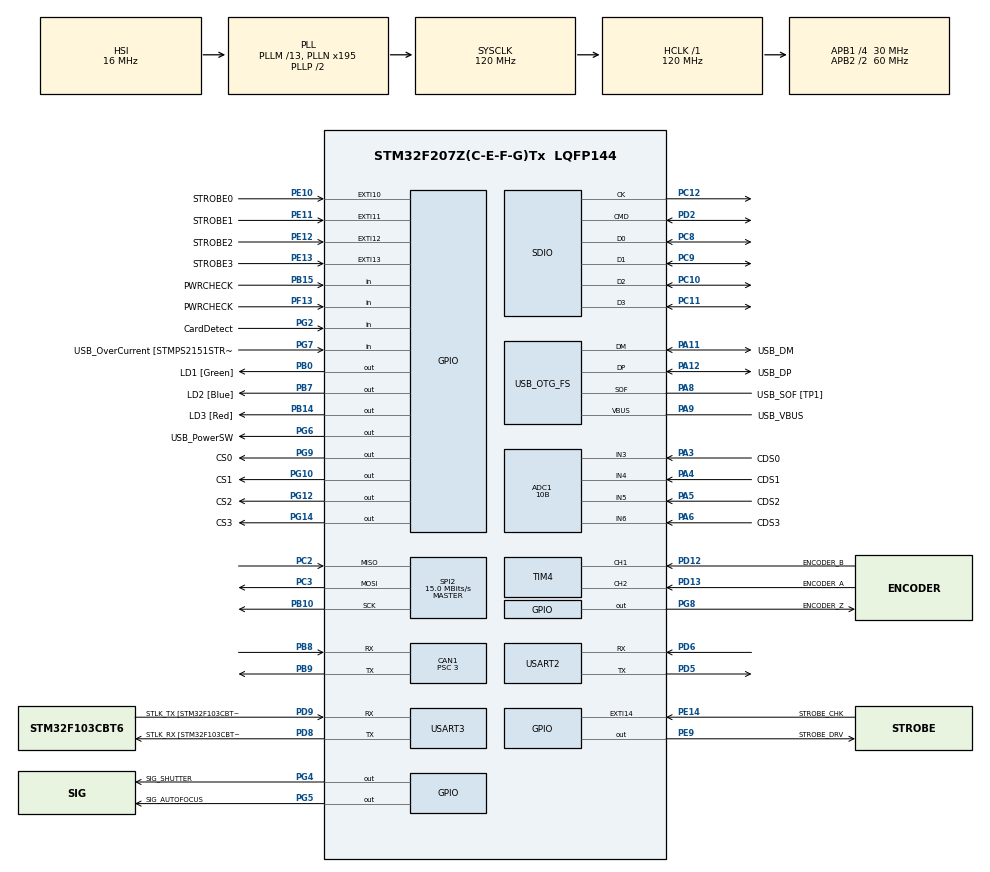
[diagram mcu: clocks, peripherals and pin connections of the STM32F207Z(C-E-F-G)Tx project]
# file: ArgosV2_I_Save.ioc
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ADC1.Channel-0\#ChannelRegularConversion=ADC_CHANNEL_3
ADC1.Channel-1\#ChannelRegularConversion=ADC_CHANNEL_4
ADC1.Channel-2\#ChannelRegularConversion=ADC_CHANNEL_5
ADC1.Channel-3\#ChannelRegularConversion=ADC_CHANNEL_6
ADC1.NbrOfConversion=4
ADC1.NbrOfConversionFlag=1
ADC1.Rank-0\#ChannelRegularConversion=1
ADC1.Rank-1\#ChannelRegularConversion=2
ADC1.Rank-2\#ChannelRegularConversion=3
ADC1.Rank-3\#ChannelRegularConversion=4
ADC1.Resolution=ADC_RESOLUTION_10B
ADC1.SamplingTime-0\#ChannelRegularConversion=ADC_SAMPLETIME_3CYCLES
ADC1.SamplingTime-1\#ChannelRegularConversion=ADC_SAMPLETIME_3CYCLES
ADC1.SamplingTime-2\#ChannelRegularConversion=ADC_SAMPLETIME_3CYCLES
ADC1.SamplingTime-3\#ChannelRegularConversion=ADC_SAMPLETIME_3CYCLES
ADC1.master=1
CAN1.BS1=CAN_BS1_8TQ
CAN1.CalculateBaudRate=1000000
CAN1.CalculateTimeBit=1000.00
CAN1.CalculateTimeQuantum=100.0
CAN1.Prescaler=3
Dma.ADC1.0.Direction=DMA_PERIPH_TO_MEMORY
Dma.ADC1.0.FIFOMode=DMA_FIFOMODE_DISABLE
Dma.ADC1.0.Instance=DMA2_Stream0
Dma.ADC1.0.MemDataAlignment=DMA_MDATAALIGN_WORD
Dma.ADC1.0.MemInc=DMA_MINC_ENABLE
Dma.ADC1.0.Mode=DMA_CIRCULAR
Dma.ADC1.0.PeriphDataAlignment=DMA_PDATAALIGN_WORD
Dma.ADC1.0.PeriphInc=DMA_PINC_DISABLE
Dma.ADC1.0.Priority=DMA_PRIORITY_LOW
Dma.Request0=ADC1
Dma.Request1=SDIO_RX
Dma.Request2=SDIO_TX
Dma.Request3=SPI2_RX
Dma.Request4=SPI2_TX
Dma.Request5=USART2_RX
Dma.Request6=USART2_TX
Dma.SDIO_RX.1.Direction=DMA_PERIPH_TO_MEMORY
Dma.SDIO_RX.1.FIFOMode=DMA_FIFOMODE_ENABLE
Dma.SDIO_RX.1.FIFOThreshold=DMA_FIFO_THRESHOLD_FULL
Dma.SDIO_RX.1.Instance=DMA2_Stream3
Dma.SDIO_RX.1.MemBurst=DMA_MBURST_INC4
Dma.SDIO_RX.1.MemDataAlignment=DMA_MDATAALIGN_WORD
Dma.SDIO_RX.1.MemInc=DMA_MINC_ENABLE
Dma.SDIO_RX.1.Mode=DMA_PFCTRL
Dma.SDIO_RX.1.PeriphBurst=DMA_PBURST_INC4
Dma.SDIO_RX.1.PeriphDataAlignment=DMA_PDATAALIGN_WORD
Dma.SDIO_RX.1.PeriphInc=DMA_PINC_DISABLE
Dma.SDIO_RX.1.Priority=DMA_PRIORITY_LOW
Dma.SDIO_TX.2.Direction=DMA_MEMORY_TO_PERIPH
Dma.SDIO_TX.2.FIFOMode=DMA_FIFOMODE_ENABLE
Dma.SDIO_TX.2.FIFOThreshold=DMA_FIFO_THRESHOLD_FULL
Dma.SDIO_TX.2.Instance=DMA2_Stream6
Dma.SDIO_TX.2.MemBurst=DMA_MBURST_INC4
Dma.SDIO_TX.2.MemDataAlignment=DMA_MDATAALIGN_WORD
Dma.SDIO_TX.2.MemInc=DMA_MINC_ENABLE
Dma.SDIO_TX.2.Mode=DMA_PFCTRL
Dma.SDIO_TX.2.PeriphBurst=DMA_PBURST_INC4
Dma.SDIO_TX.2.PeriphDataAlignment=DMA_PDATAALIGN_WORD
Dma.SDIO_TX.2.PeriphInc=DMA_PINC_DISABLE
Dma.SDIO_TX.2.Priority=DMA_PRIORITY_LOW
Dma.SPI2_RX.3.Direction=DMA_PERIPH_TO_MEMORY
Dma.SPI2_RX.3.FIFOMode=DMA_FIFOMODE_DISABLE
Dma.SPI2_RX.3.Instance=DMA1_Stream3
Dma.SPI2_RX.3.MemDataAlignment=DMA_MDATAALIGN_BYTE
Dma.SPI2_RX.3.MemInc=DMA_MINC_ENABLE
Dma.SPI2_RX.3.Mode=DMA_NORMAL
Dma.SPI2_RX.3.PeriphDataAlignment=DMA_PDATAALIGN_BYTE
Dma.SPI2_RX.3.PeriphInc=DMA_PINC_DISABLE
Dma.SPI2_RX.3.Priority=DMA_PRIORITY_LOW
Dma.SPI2_TX.4.Direction=DMA_MEMORY_TO_PERIPH
Dma.SPI2_TX.4.FIFOMode=DMA_FIFOMODE_DISABLE
Dma.SPI2_TX.4.Instance=DMA1_Stream4
Dma.SPI2_TX.4.MemDataAlignment=DMA_MDATAALIGN_BYTE
Dma.SPI2_TX.4.MemInc=DMA_MINC_ENABLE
Dma.SPI2_TX.4.Mode=DMA_NORMAL
Dma.SPI2_TX.4.PeriphDataAlignment=DMA_PDATAALIGN_BYTE
Dma.SPI2_TX.4.PeriphInc=DMA_PINC_DISABLE
Dma.SPI2_TX.4.Priority=DMA_PRIORITY_LOW
Dma.USART2_RX.5.Direction=DMA_PERIPH_TO_MEMORY
Dma.USART2_RX.5.FIFOMode=DMA_FIFOMODE_DISABLE
Dma.USART2_RX.5.Instance=DMA1_Stream5
Dma.USART2_RX.5.MemDataAlignment=DMA_MDATAALIGN_BYTE
Dma.USART2_RX.5.MemInc=DMA_MINC_ENABLE
Dma.USART2_RX.5.Mode=DMA_NORMAL
Dma.USART2_RX.5.PeriphDataAlignment=DMA_PDATAALIGN_BYTE
Dma.USART2_RX.5.PeriphInc=DMA_PINC_DISABLE
Dma.USART2_RX.5.Priority=DMA_PRIORITY_LOW
Dma.USART2_TX.6.Direction=DMA_MEMORY_TO_PERIPH
Dma.USART2_TX.6.FIFOMode=DMA_FIFOMODE_DISABLE
Dma.USART2_TX.6.Instance=DMA1_Stream6
Dma.USART2_TX.6.MemDataAlignment=DMA_MDATAALIGN_BYTE
Dma.USART2_TX.6.MemInc=DMA_MINC_ENABLE
Dma.USART2_TX.6.Mode=DMA_NORMAL
Dma.USART2_TX.6.PeriphDataAlignment=DMA_PDATAALIGN_BYTE
Dma.USART2_TX.6.PeriphInc=DMA_PINC_DISABLE
Dma.USART2_TX.6.Priority=DMA_PRIORITY_LOW
FATFS.BSP.number=1
FATFS._CODE_PAGE=949
FATFS._LFN_UNICODE=1
FATFS._USE_LFN=2
FATFS0.BSP.STBoard=false
FATFS0.BSP.api=Unknown
FATFS0.BSP.i2caddr=0
FATFS0.BSP.instance=PG2
FATFS0.BSP.ip=GPIO
FATFS0.BSP.mode=Input
FATFS0.BSP.name=Detect_SDIO
FATFS0.BSP.solution=PG2
Mcu.Family=STM32F2
Mcu.Name=STM32F207Z(C-E-F-G)Tx
Mcu.Package=LQFP144
NVIC.ADC_IRQn=true\:1\:0\:true\:false\:true\:true\:true
NVIC.CAN1_RX0_IRQn=true\:1\:0\:true\:false\:true\:true\:true
NVIC.CAN1_RX1_IRQn=true\:1\:0\:true\:false\:true\:true\:true
NVIC.CAN1_SCE_IRQn=true\:1\:0\:true\:false\:true\:true\:true
NVIC.CAN1_TX_IRQn=true\:1\:0\:true\:false\:true\:true\:true
NVIC.DMA1_Stream3_IRQn=true\:1\:0\:true\:false\:true\:false\:true
NVIC.DMA1_Stream4_IRQn=true\:1\:0\:true\:false\:true\:false\:true
NVIC.DMA1_Stream5_IRQn=true\:1\:0\:true\:false\:true\:false\:true
NVIC.DMA1_Stream6_IRQn=true\:1\:0\:true\:false\:true\:false\:true
NVIC.DMA2_Stream0_IRQn=true\:1\:0\:true\:false\:true\:false\:true
NVIC.DMA2_Stream3_IRQn=true\:1\:0\:true\:false\:true\:false\:true
NVIC.DMA2_Stream6_IRQn=true\:1\:0\:true\:false\:true\:false\:true
NVIC.EXTI15_10_IRQn=true\:0\:0\:true\:false\:true\:true\:true
NVIC.OTG_FS_IRQn=true\:1\:0\:true\:false\:true\:false\:true
NVIC.PriorityGroup=NVIC_PRIORITYGROUP_4
NVIC.SDIO_IRQn=true\:1\:0\:true\:false\:true\:true\:true
NVIC.SPI2_IRQn=true\:1\:0\:true\:false\:true\:true\:true
NVIC.TIM3_IRQn=true\:1\:0\:true\:false\:true\:true\:true
NVIC.USART2_IRQn=true\:1\:0\:true\:false\:true\:true\:true
PA1.GPIO_Label=RMII_REF_CLK [LAN8742A-CZ-TR_REFCLK0]
PA1.Signal=ETH_REF_CLK
PA10.GPIO_Label=USB_ID
PA10.Signal=USB_OTG_FS_ID
PA11.GPIO_Label=USB_DM
PA11.Mode=Device_Only
PA11.Signal=USB_OTG_FS_DM
PA12.GPIO_Label=USB_DP
PA12.Mode=Device_Only
PA12.Signal=USB_OTG_FS_DP
PA13.GPIO_Label=TMS
PA13.Mode=Serial_Wire
PA13.Signal=SYS_JTMS-SWDIO
PA14.GPIO_Label=TCK
PA14.Mode=Serial_Wire
PA14.Signal=SYS_JTCK-SWCLK
PA2.GPIO_Label=RMII_MDIO [LAN8742A-CZ-TR_MDIO]
PA2.Signal=ETH_MDIO
PA3.GPIO_Label=CDS0
PA3.Signal=ADCx_IN3
PA4.GPIO_Label=CDS1
PA4.Signal=ADCx_IN4
PA5.GPIO_Label=CDS2
PA5.Signal=ADCx_IN5
PA6.GPIO_Label=CDS3
PA6.Signal=ADCx_IN6
PA7.GPIO_Label=RMII_CRS_DV [LAN8742A-CZ-TR_CRS_DV]
PA7.Signal=ETH_CRS_DV
PA8.GPIO_Label=USB_SOF [TP1]
PA8.Mode=Activate_SOF_FS
PA8.Signal=USB_OTG_FS_SOF
PA9.GPIO_Label=USB_VBUS
PA9.Mode=Activate_VBUS
PA9.Signal=USB_OTG_FS_VBUS
PB0.GPIO_Label=LD1 [Green]
PB0.GPIO_Speed=GPIO_SPEED_FREQ_VERY_HIGH
PB0.Signal=GPIO_Output
PB10.Mode=Full_Duplex_Master
PB10.Signal=SPI2_SCK
PB13.GPIO_Label=RMII_TXD1 [LAN8742A-CZ-TR_TXD1]
PB13.Signal=ETH_TXD1
PB14.GPIO_Label=LD3 [Red]
PB14.GPIO_Speed=GPIO_SPEED_FREQ_VERY_HIGH
PB14.Signal=GPIO_Output
PB15.GPIO_Label=PWRCHECK
PB15.GPIO_PuPd=GPIO_PULLUP
PB15.Signal=GPIO_Input
PB3.GPIO_Label=SWO
PB3.Signal=SYS_JTDO-SWO
PB7.GPIO_Label=LD2 [Blue]
PB7.GPIO_Speed=GPIO_SPEED_FREQ_VERY_HIGH
PB7.Signal=GPIO_Output
PB8.Mode=CAN_Activate
PB8.Signal=CAN1_RX
PB9.Mode=CAN_Activate
PB9.Signal=CAN1_TX
PC1.GPIO_Label=RMII_MDC [LAN8742A-CZ-TR_MDC]
PC1.Signal=ETH_MDC
PC10.GPIO_PuPd=GPIO_PULLUP
PC10.Mode=SD_4_bits_Wide_bus
PC10.Signal=SDIO_D2
PC11.GPIO_PuPd=GPIO_PULLUP
PC11.Mode=SD_4_bits_Wide_bus
PC11.Signal=SDIO_D3
PC12.GPIO_PuPd=GPIO_NOPULL
PC12.Mode=SD_4_bits_Wide_bus
PC12.Signal=SDIO_CK
PC14-OSC32_IN.Mode=LSE-External-Oscillator
PC14-OSC32_IN.Signal=RCC_OSC32_IN
PC15-OSC32_OUT.Mode=LSE-External-Oscillator
PC15-OSC32_OUT.Signal=RCC_OSC32_OUT
PC2.Mode=Full_Duplex_Master
PC2.Signal=SPI2_MISO
PC3.Mode=Full_Duplex_Master
PC3.Signal=SPI2_MOSI
PC4.GPIO_Label=RMII_RXD0 [LAN8742A-CZ-TR_RXD0]
PC4.Signal=ETH_RXD0
PC5.GPIO_Label=RMII_RXD1 [LAN8742A-CZ-TR_RXD1]
PC5.Signal=ETH_RXD1
PC8.GPIO_PuPd=GPIO_PULLUP
PC8.Mode=SD_4_bits_Wide_bus
PC8.Signal=SDIO_D0
PC9.GPIO_PuPd=GPIO_PULLUP
PC9.Mode=SD_4_bits_Wide_bus
PC9.Signal=SDIO_D1
PD12.GPIO_Label=ENCODER_B
PD12.Signal=S_TIM4_CH1
PD13.GPIO_Label=ENCODER_A
PD13.Signal=S_TIM4_CH2
PD2.GPIO_PuPd=GPIO_PULLUP
PD2.Mode=SD_4_bits_Wide_bus
PD2.Signal=SDIO_CMD
PD5.Mode=Asynchronous
PD5.Signal=USART2_TX
PD6.Mode=Asynchronous
PD6.Signal=USART2_RX
PD8.GPIO_Label=STLK_RX [STM32F103CBT6_PA3]
PD8.Mode=Asynchronous
PD8.Signal=USART3_TX
PD9.GPIO_Label=STLK_TX [STM32F103CBT6_PA2]
PD9.Mode=Asynchronous
PD9.Signal=USART3_RX
PE10.GPIO_Label=STROBE0
PE10.Signal=GPXTI10
PE11.GPIO_Label=STROBE1
PE11.Signal=GPXTI11
PE12.GPIO_Label=STROBE2
PE12.Signal=GPXTI12
PE13.GPIO_Label=STROBE3
PE13.Signal=GPXTI13
PE14.GPIO_Label=STROBE_CHK
PE14.Signal=GPXTI14
PE9.GPIO_Label=STROBE_DRV
PE9.GPIO_Speed=GPIO_SPEED_FREQ_VERY_HIGH
PE9.Signal=GPIO_Output
PF13.GPIO_Label=PWRCHECK
PF13.GPIO_PuPd=GPIO_PULLDOWN
PF13.Signal=GPIO_Input
PG10.GPIO_Label=CS1
PG10.Signal=GPIO_Output
PG11.GPIO_Label=RMII_TX_EN [LAN8742A-CZ-TR_TXEN]
PG11.Signal=ETH_TX_EN
PG12.GPIO_Label=CS2
PG12.Signal=GPIO_Output
PG13.GPIO_Label=RMII_TXD0 [LAN8742A-CZ-TR_TXD0]
PG13.Signal=ETH_TXD0
PG14.GPIO_Label=CS3
PG14.Signal=GPIO_Output
PG2.GPIO_Label=CardDetect
PG2.GPIO_PuPd=GPIO_PULLUP
PG2.Signal=GPIO_Input
PG4.GPIO_Label=SIG_SHUTTER
PG4.GPIO_Speed=GPIO_SPEED_FREQ_VERY_HIGH
PG4.Signal=GPIO_Output
PG5.GPIO_Label=SIG_AUTOFOCUS
PG5.Signal=GPIO_Output
PG6.GPIO_Label=USB_PowerSW
PG6.Signal=GPIO_Output
PG7.GPIO_Label=USB_OverCurrent [STMPS2151STR_FAULT]
PG7.Signal=GPIO_Input
PG8.GPIO_Label=ENCODER_Z
PG8.Signal=GPIO_Output
PG9.GPIO_Label=CS0
PG9.Signal=GPIO_Output
PH0-OSC_IN.GPIO_Label=MCO [STM32F103CBT6_PA8]
PH0-OSC_IN.Mode=HSE-External-Clock-Source
PH0-OSC_IN.Signal=RCC_OSC_IN
PH1-OSC_OUT.Mode=HSE-External-Clock-Source
PH1-OSC_OUT.Signal=RCC_OSC_OUT
ProjectManager.HeapSize=0x400
ProjectManager.StackSize=0x400
ProjectManager.TargetToolchain=STM32CubeIDE
RCC.48MHZClocksFreq_Value=48000000
RCC.AHBFreq_Value=120000000
RCC.APB1CLKDivider=RCC_HCLK_DIV4
RCC.APB1Freq_Value=30000000
RCC.APB1TimFreq_Value=60000000
RCC.APB2CLKDivider=RCC_HCLK_DIV2
RCC.APB2Freq_Value=60000000
RCC.APB2TimFreq_Value=120000000
RCC.CortexFreq_Value=120000000
RCC.HCLKFreq_Value=120000000
RCC.HSE_VALUE=8000000
RCC.HSI_VALUE=16000000
RCC.PLLM=13
RCC.PLLMUL=RCC_PLL_MUL9
RCC.PLLN=195
RCC.PLLQ=5
RCC.PRESCALERUSB=RCC_USBCLKSOURCE_PLL_DIV1_5
RCC.SYSCLKFreq_VALUE=120000000
RCC.SYSCLKSource=RCC_SYSCLKSOURCE_PLLCLK
RCC.SYSCLKSourceVirtual=RCC_SYSCLKSOURCE_PLLCLK
RCC.USBFreq_Value=48000000
RCC.VCOOutputFreq_Value=240000000
SDIO.ClockDiv=1
SH.ADCx_IN3.0=ADC1_IN3,IN3
SH.ADCx_IN4.0=ADC1_IN4,IN4
SH.ADCx_IN5.0=ADC1_IN5,IN5
SH.ADCx_IN6.0=ADC1_IN6,IN6
SH.S_TIM4_CH1.0=TIM4_CH1,Encoder_Interface
SH.S_TIM4_CH2.0=TIM4_CH2,Encoder_Interface
SPI2.CalculateBaudRate=15.0 MBits/s
SPI2.Direction=SPI_DIRECTION_2LINES
SPI2.Mode=SPI_MODE_MASTER
SPI2.VirtualType=VM_MASTER
TIM3.Period=44
TIM3.Prescaler=5999
USART2.VirtualMode=VM_ASYNC
USART3.VirtualMode=VM_ASYNC
USB_DEVICE.APP_RX_DATA_SIZE-CDC_FS=200
USB_DEVICE.APP_TX_DATA_SIZE-CDC_FS=200
USB_DEVICE.CLASS_NAME_FS=CDC
USB_DEVICE.MANUFACTURER_STRING-CDC_FS=Stryx.Inc
USB_DEVICE.PRODUCT_STRING_CDC_FS=WebMMS_Main
USB_DEVICE.VirtualMode-CDC_FS=Cdc
USB_DEVICE.VirtualModeFS=Cdc_FS
USB_OTG_FS.VirtualMode=Device_Only
VP_FATFS_VS_SDIO.Mode=SDIO
VP_TIM3_VS_ClockSourceINT.Mode=Internal
VP_USB_DEVICE_VS_USB_DEVICE_CDC_FS.Mode=CDC_FS
board=NUCLEO-F207ZG

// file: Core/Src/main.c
/* USER CODE BEGIN Header */
/**
 ******************************************************************************
 * @file           : main.c
 * @brief          : Main program body
 ******************************************************************************
 * @attention
 *
 * <h2><center>&copy; Copyright (c) 2020 STMicroelectronics.
 * All rights reserved.</center></h2>
 *
 * This software component is licensed by ST under BSD 3-Clause license,
 * the "License"; You may not use this file except in compliance with the
 * License. You may obtain a copy of the License at:
 *                        opensource.org/licenses/BSD-3-Clause
 *
 ******************************************************************************
 */
/* USER CODE END Header */
#include "main.h"
#include "fatfs.h"
#include "usb_device.h"

/* USER CODE BEGIN Includes */
#include <stdio.h>
#include <stdbool.h>
#include <string.h>
#include <stdlib.h>

/* USER CODE END Includes */

/* USER CODE BEGIN PTD */
typedef struct _paramType
{
	int encoderTargetCount; // I version add
} __attribute__((aligned(1), packed)) WheelParam;
/* USER CODE END PTD */

/* USER CODE BEGIN PD */
#define BACKUP_FLASH_ADDR 0x080E0000

#define TARGET_PULSE_NUMBER		1

#define DIVISOR					1

#define ENCODER_PULSE_COUNT		2000

#define TARGET_DISTANCE			1.0f
/* USER CODE END PD */

ADC_HandleTypeDef hadc1;
DMA_HandleTypeDef hdma_adc1;

CAN_HandleTypeDef hcan1;

SD_HandleTypeDef hsd;
DMA_HandleTypeDef hdma_sdio_rx;
DMA_HandleTypeDef hdma_sdio_tx;

SPI_HandleTypeDef hspi2;
DMA_HandleTypeDef hdma_spi2_rx;
DMA_HandleTypeDef hdma_spi2_tx;

TIM_HandleTypeDef htim4;

UART_HandleTypeDef huart2;
UART_HandleTypeDef huart3;
DMA_HandleTypeDef hdma_usart2_rx;
DMA_HandleTypeDef hdma_usart2_tx;

/* USER CODE BEGIN PV */

extern struct netif gnetif;

// CAN BUS
CAN_FilterTypeDef sFilterConfig;
CAN_RxHeaderTypeDef RxHeader;
CAN_TxHeaderTypeDef TxHeader;
uint8_t RxData[8];
uint8_t TxData[8]; // uint8_t TxData[8];
uint32_t TxMailBox;

//SD CARD
FATFS SDFatFs; /* File system object for SD disk logical drive */
FIL MyFile; /* File object */
char SDPath[4]; /* SD disk logical drive path */
static uint8_t buffer[_MAX_SS]; /* a work buffer for the f_mkfs() */

// DMI
int16_t A_PLS_CNT = 0, B_PLS_CNT = 0;

// USB
bool bFlag = false;
uint8_t UFlag = 0, EnterFlag = 0; // USB Select Flag, Enter key input
char UTxbuf[300], buf[130]; // USB Tx, ADC print buf
extern uint8_t URxbuf[200]; // USB Rx
int usbselect = 2;

// ADC, STROBE
uint8_t setcdsvalue;
int adcValue[4]; // ADC DATA SAVE
uint16_t stb0, stb1, stb2, stb3, stb_all; // STROBE Count
uint8_t stbchk0, stbchk1, stbchk2, stbchk3; // STROBE CHECK FLAG

// UDP FLAG
extern uint8_t udp_flag;
extern uint8_t udp_data;
uint8_t udpIntput = 0;
uint8_t udpStop = 0;

// Camera
uint8_t cameraSelect = 0;
uint8_t cameraValue = 0;

/* USER CODE END PV */

void SystemClock_Config(void);
static void MX_GPIO_Init(void);
static void MX_DMA_Init(void);
static void MX_USART3_UART_Init(void);
static void MX_TIM3_Init(void);
static void MX_ADC1_Init(void);
static void MX_SDIO_SD_Init(void);
static void MX_SPI2_Init(void);
static void MX_CAN1_Init(void);
static void MX_USART2_UART_Init(void);
static void MX_TIM4_Init(void);

/* USER CODE BEGIN 0 */
void HAL_GPIO_EXTI_Callback(uint16_t GPIO_Pin)
{ // Strobe CHK
	if (GPIO_Pin & STROBE0_Pin)
	{
		HAL_GPIO_TogglePin(LD1_GPIO_Port, LD1_Pin);
		stbchk0 = 1;
		stb0++;
	}
	if (GPIO_Pin & STROBE1_Pin)
	{
		HAL_GPIO_TogglePin(LD2_GPIO_Port, LD2_Pin);
		stbchk1 = 1;
		stb1++;
	}
	if (GPIO_Pin & STROBE2_Pin)
	{
		HAL_GPIO_TogglePin(LD3_GPIO_Port, LD3_Pin);
		stbchk2 = 1;
		stb2++;
	}
	if (GPIO_Pin & STROBE3_Pin)
	{
		stbchk3 = 1;
		stb3++;
	}
	/*
	 if (GPIO_Pin & STROBE_CHK_Pin)
	 {
	 stb_all++;
	 HAL_GPIO_WritePin(STROBE_DRV_GPIO_Port, STROBE_DRV_Pin, SET);
	 }
	 */
	/*
	 if (stbchk0 == 1 && stbchk1 == 1 || stbchk2 == 1 && stbchk3 == 1) // if (stbchk0 == 1 && stbchk1 == 1 && stbchk2 == 1 && stbchk3 == 1)
	 {
	 HAL_GPIO_WritePin(LD3_GPIO_Port, LD3_Pin, SET);
	 HAL_GPIO_WritePin(STROBE_DRV_GPIO_Port, STROBE_DRV_Pin, SET);
	 stbchk0 = 0;
	 stbchk1 = 0;
	 stbchk2 = 0;
	 stbchk3 = 0;
	 }*/
}

void CAN_Transmit(int data)
{
	TxMailBox = HAL_CAN_GetTxMailboxesFreeLevel(&hcan1);
	TxData[0] = data;
	HAL_CAN_AddTxMessage(&hcan1, &TxHeader, TxData, &TxMailBox);
}

void Camera_Configuration(uint8_t camera, uint16_t value)
{
	// SPI 1. CS pin reset >> SPI Transmit >> CS pin set
	switch (camera)
	{
	case 0:
		HAL_GPIO_WritePin(CS0_GPIO_Port, CS0_Pin, RESET);
		HAL_SPI_Transmit(&hspi2, &value, 2, 1000);
		HAL_GPIO_WritePin(CS0_GPIO_Port, CS0_Pin, SET);
		break;
	case 1:
		HAL_GPIO_WritePin(CS1_GPIO_Port, CS1_Pin, RESET);
		HAL_SPI_Transmit(&hspi2, &value, 2, 1000);
		HAL_GPIO_WritePin(CS1_GPIO_Port, CS1_Pin, SET);
		break;
	case 2:
		HAL_GPIO_WritePin(CS2_GPIO_Port, CS2_Pin, RESET);
		HAL_SPI_Transmit(&hspi2, &value, 2, 1000);
		HAL_GPIO_WritePin(CS2_GPIO_Port, CS2_Pin, SET);
		break;
	case 3:
		HAL_GPIO_WritePin(CS3_GPIO_Port, CS3_Pin, RESET);
		HAL_SPI_Transmit(&hspi2, &value, 2, 1000);
		HAL_GPIO_WritePin(CS3_GPIO_Port, CS3_Pin, SET);
		break;
	default:
		break;
	}
}

void UDP_INPUT()
{
	if (udp_data == 'i')
	{
		udp_data = 0;
		udpIntput = 1;
		CDC_Transmit_FS((uint8_t*) "INPUT MODE Activated\r\n", 22);
	}
	else if (udp_data == 's')
	{
		udp_data = 0;
		udpIntput = 0;
	}
	/*
	 if (udp_flag)
	 {
	 WheelParam wP;
	 wP.encoderTargetCount = atoi(&udp_data);
	 udp_flag = 0;
	 }
	 */
}

void DSLR_Action()
{
	HAL_GPIO_WritePin(SIG_AUTOFOCUS_GPIO_Port, SIG_AUTOFOCUS_Pin, SET);
	HAL_GPIO_WritePin(SIG_SHUTTER_GPIO_Port, SIG_SHUTTER_Pin, SET);
	HAL_GPIO_WritePin(STROBE_DRV_GPIO_Port, STROBE_DRV_Pin, RESET);
	LL_TIM_ClearFlag_UPDATE(TIM3);
	LL_TIM_EnableCounter(TIM3);
}

void ADC_Print()
{
	HAL_ADC_Start_DMA(&hadc1, adcValue, 4);
	for (int i = 0; i < 4; i++)
	{
		HAL_DMA_PollForTransfer(&hdma_adc1, HAL_DMA_FULL_TRANSFER, 1000);
	}
	HAL_ADC_Stop_DMA(&hadc1);
	switch (setcdsvalue)
	{
	case 1:
		break;
		sprintf(buf, "#%04d\r\n", adcValue[0]);
	case 2:
		break;
		sprintf(buf, "#%04d%04d\r\n", adcValue[0], adcValue[1]);
	case 3:
		break;
		sprintf(buf, "#%04d%04d%04d\r\n", adcValue[0], adcValue[1],
				adcValue[2]);
	case 4:
		break;
		sprintf(buf, "#%04d%04d%04d%04d\r\n", adcValue[0], adcValue[1],
				adcValue[2], adcValue[3]);
	default:
		sprintf(buf, "#%04d%04d\r\n", adcValue[0], adcValue[1]);
		break;
	}
	CDC_Transmit_FS(buf, strlen(buf));
}

float diameter(float radius)
{
	return (2 * 3.1415 * radius);
}

float rotationForShoot(float targetDistance, float wheelDiameter)
{
	return (targetDistance / wheelDiameter);
}

int targetPulseCount(float rotationCount, int encoderPulseCnt)
{
	return (int) ((((rotationCount * encoderPulseCnt) / TARGET_PULSE_NUMBER)
			/ DIVISOR));
}

void SaveWheelParam(WheelParam *wP)
{
	HAL_StatusTypeDef FlashStatus = HAL_OK;
	HAL_FLASH_Unlock();
	{
		FLASH_EraseInitTypeDef fler;
		uint32_t perr;
		fler.TypeErase = FLASH_TYPEERASE_SECTORS;
		fler.Banks = FLASH_BANK_1;
		fler.Sector = FLASH_SECTOR_11;
		fler.NbSectors = 1;

		HAL_FLASHEx_Erase(&fler, &perr);
		register uint32_t *_targetAddr = (uint32_t*) (wP);
		for (uint8_t i = 0; i <= (sizeof(WheelParam) * 2); i +=
				sizeof(uint32_t))
		{
			//FlashStatus = HAL_FLASH_Program(FLASH_TYPEPROGRAM_WORD,
			//BACKUP_FLASH_ADDR + i, _targetAddr[i / sizeof(uint32_t)]);

			while (HAL_FLASH_Program(FLASH_TYPEPROGRAM_WORD,
			BACKUP_FLASH_ADDR + i, _targetAddr[i / sizeof(uint32_t)]) != HAL_OK)
				;

		}
	}
	HAL_FLASH_Lock();
}
/* USER CODE END 0 */

int main(void)
{
	/* USER CODE BEGIN 1 */
	WheelParam wP;
	memcpy(&wP, (void*) (BACKUP_FLASH_ADDR), sizeof(WheelParam));

	stb0 = 0;
	stb1 = 0;
	stb2 = 0;
	stb3 = 0;
	stb_all = 0;
	/* USER CODE END 1 */

	/* MCU Configuration--------------------------------------------------------*/

	/* Reset of all peripherals, Initializes the Flash interface and the Systick. */
	HAL_Init();

	/* Configure the system clock */
	SystemClock_Config();

	/* Initialize all configured peripherals */
	MX_GPIO_Init();
	MX_DMA_Init();
	MX_USART3_UART_Init();
	MX_USB_DEVICE_Init();
	MX_TIM3_Init();
	MX_ADC1_Init();
	MX_SDIO_SD_Init();
	MX_FATFS_Init();
	MX_SPI2_Init();
	MX_CAN1_Init();
	MX_USART2_UART_Init();
	MX_TIM4_Init();
	/* USER CODE BEGIN 2 */
	LL_TIM_EnableIT_UPDATE(TIM3);
	HAL_TIM_Encoder_Start(&htim4, TIM_CHANNEL_2); // DMI TIMER

	HAL_CAN_Start(&hcan1); // CANBUS
	HAL_CAN_ActivateNotification(&hcan1, CAN_IT_RX_FIFO0_MSG_PENDING);

	/* USER CODE END 2 */

	/* Infinite loop */
	/* USER CODE BEGIN WHILE */
	UFlag = 0;
	bFlag = 0;

	while (1)
	{
		// MX_LWIP_Process();
		// UDP_INPUT();
		switch (UFlag)
		{
		/* I version */
		case 1:
			sprintf(UTxbuf, "EncoderTargetCount= %d\r\n"
					"USB Select= %d.0 (default : 2.0)\r\n"
					"Auto triggering= %s\r\n", wP.encoderTargetCount, usbselect,
					(bFlag == true) ? ("Started\r\n") : ("Disabled\r\n"));
			CDC_Transmit_FS(UTxbuf, strlen(UTxbuf));
			UFlag = 0;
			bFlag = 0;
			break;
		case 2:
			CDC_Transmit_FS((uint8_t*) "Input EncoderTargetCount\r\n", 26);
			while (!EnterFlag)
			{
			}
			EnterFlag = 0;
			wP.encoderTargetCount = atoi(URxbuf);
			UFlag = 0;
			bFlag = 0;
			break;
		case 7:
			CDC_Transmit_FS("Saving current param...\r\n", 25);
			SaveWheelParam(&wP);
			UFlag = 0;
			break;
		case 8:
			CDC_Transmit_FS("USB Select 2.0\r\n", 14);
			usbselect = 2;
			CAN_Transmit(usbselect); // CAN_Transmit(atoi(URxbuf));
			UFlag = 0;
			break;
		case 9:
			CDC_Transmit_FS("USB Select 3.0\r\n", 14);
			usbselect = 3;
			CAN_Transmit(usbselect); // CAN_Transmit(atoi(URxbuf));
			UFlag = 0;
			break;
		default:
			UFlag = 0;
		}

		if (bFlag == 1)
		{
			A_PLS_CNT = TIM4->CNT;

			if (A_PLS_CNT >= wP.encoderTargetCount)
			{
				TIM4->CNT = 0;
				DSLR_Action(); // Driver Control
			}
			else if (A_PLS_CNT <= 0)
			{
				A_PLS_CNT = 0;
				//B_PLS_CNT = 0;
				TIM4->CNT = 0;
			}
		}
		/* USER CODE END WHILE */

	}
}

void SystemClock_Config(void)
{
	RCC_OscInitTypeDef RCC_OscInitStruct =
	{ 0 };
	RCC_ClkInitTypeDef RCC_ClkInitStruct =
	{ 0 };

	/** Initializes the RCC Oscillators according to the specified parameters
	 * in the RCC_OscInitTypeDef structure.
	 */
	RCC_OscInitStruct.OscillatorType = RCC_OSCILLATORTYPE_HSI;
	RCC_OscInitStruct.HSIState = RCC_HSI_ON;
	RCC_OscInitStruct.HSICalibrationValue = RCC_HSICALIBRATION_DEFAULT;
	RCC_OscInitStruct.PLL.PLLState = RCC_PLL_ON;
	RCC_OscInitStruct.PLL.PLLSource = RCC_PLLSOURCE_HSI;
	RCC_OscInitStruct.PLL.PLLM = 13;
	RCC_OscInitStruct.PLL.PLLN = 195;
	RCC_OscInitStruct.PLL.PLLP = RCC_PLLP_DIV2;
	RCC_OscInitStruct.PLL.PLLQ = 5;
	if (HAL_RCC_OscConfig(&RCC_OscInitStruct) != HAL_OK)
	{
		Error_Handler();
	}
	/** Initializes the CPU, AHB and APB buses clocks
	 */
	RCC_ClkInitStruct.ClockType = RCC_CLOCKTYPE_HCLK | RCC_CLOCKTYPE_SYSCLK
			| RCC_CLOCKTYPE_PCLK1 | RCC_CLOCKTYPE_PCLK2;
	RCC_ClkInitStruct.SYSCLKSource = RCC_SYSCLKSOURCE_PLLCLK;
	RCC_ClkInitStruct.AHBCLKDivider = RCC_SYSCLK_DIV1;
	RCC_ClkInitStruct.APB1CLKDivider = RCC_HCLK_DIV4;
	RCC_ClkInitStruct.APB2CLKDivider = RCC_HCLK_DIV2;

	if (HAL_RCC_ClockConfig(&RCC_ClkInitStruct, FLASH_LATENCY_3) != HAL_OK)
	{
		Error_Handler();
	}
}

static void MX_ADC1_Init(void)
{

	ADC_ChannelConfTypeDef sConfig =
	{ 0 };

	/** Configure the global features of the ADC (Clock, Resolution, Data Alignment and number of conversion)
	 */
	hadc1.Instance = ADC1;
	hadc1.Init.ClockPrescaler = ADC_CLOCK_SYNC_PCLK_DIV2;
	hadc1.Init.Resolution = ADC_RESOLUTION_10B;
	hadc1.Init.ScanConvMode = ENABLE;
	hadc1.Init.ContinuousConvMode = DISABLE;
	hadc1.Init.DiscontinuousConvMode = DISABLE;
	hadc1.Init.ExternalTrigConvEdge = ADC_EXTERNALTRIGCONVEDGE_NONE;
	hadc1.Init.ExternalTrigConv = ADC_SOFTWARE_START;
	hadc1.Init.DataAlign = ADC_DATAALIGN_RIGHT;
	hadc1.Init.NbrOfConversion = 4;
	hadc1.Init.DMAContinuousRequests = DISABLE;
	hadc1.Init.EOCSelection = ADC_EOC_SINGLE_CONV;
	if (HAL_ADC_Init(&hadc1) != HAL_OK)
	{
		Error_Handler();
	}
	/** Configure for the selected ADC regular channel its corresponding rank in the sequencer and its sample time.
	 */
	sConfig.Channel = ADC_CHANNEL_3;
	sConfig.Rank = 1;
	sConfig.SamplingTime = ADC_SAMPLETIME_3CYCLES;
	if (HAL_ADC_ConfigChannel(&hadc1, &sConfig) != HAL_OK)
	{
		Error_Handler();
	}
	/** Configure for the selected ADC regular channel its corresponding rank in the sequencer and its sample time.
	 */
	sConfig.Channel = ADC_CHANNEL_4;
	sConfig.Rank = 2;
	if (HAL_ADC_ConfigChannel(&hadc1, &sConfig) != HAL_OK)
	{
		Error_Handler();
	}
	/** Configure for the selected ADC regular channel its corresponding rank in the sequencer and its sample time.
	 */
	sConfig.Channel = ADC_CHANNEL_5;
	sConfig.Rank = 3;
	if (HAL_ADC_ConfigChannel(&hadc1, &sConfig) != HAL_OK)
	{
		Error_Handler();
	}
	/** Configure for the selected ADC regular channel its corresponding rank in the sequencer and its sample time.
	 */
	sConfig.Channel = ADC_CHANNEL_6;
	sConfig.Rank = 4;
	if (HAL_ADC_ConfigChannel(&hadc1, &sConfig) != HAL_OK)
	{
		Error_Handler();
	}

}

static void MX_CAN1_Init(void)
{

	/* USER CODE BEGIN CAN1_Init 0 */
	CAN_FilterTypeDef sFilterConfig;

	/* USER CODE END CAN1_Init 0 */

	hcan1.Instance = CAN1;
	hcan1.Init.Prescaler = 3;
	hcan1.Init.Mode = CAN_MODE_NORMAL;
	hcan1.Init.SyncJumpWidth = CAN_SJW_1TQ;
	hcan1.Init.TimeSeg1 = CAN_BS1_8TQ;
	hcan1.Init.TimeSeg2 = CAN_BS2_1TQ;
	hcan1.Init.TimeTriggeredMode = DISABLE;
	hcan1.Init.AutoBusOff = DISABLE;
	hcan1.Init.AutoWakeUp = DISABLE;
	hcan1.Init.AutoRetransmission = DISABLE;
	hcan1.Init.ReceiveFifoLocked = DISABLE;
	hcan1.Init.TransmitFifoPriority = DISABLE;
	if (HAL_CAN_Init(&hcan1) != HAL_OK)
	{
		Error_Handler();
	}
	/* USER CODE BEGIN CAN1_Init 2 */
	sFilterConfig.FilterBank = 0;
	sFilterConfig.FilterMode = CAN_FILTERMODE_IDMASK;
	sFilterConfig.FilterScale = CAN_FILTERSCALE_32BIT;
	sFilterConfig.FilterIdHigh = 0x0000 << 5;
	sFilterConfig.FilterIdLow = 0x0000;
	sFilterConfig.FilterMaskIdHigh = 0x0000 << 5;
	sFilterConfig.FilterMaskIdLow = 0x0000;
	//sFilterConfig.FilterFIFOAssignment = CAN_RX_FIFO0;
	sFilterConfig.FilterFIFOAssignment = 0;
	sFilterConfig.FilterActivation = ENABLE;
	//sFilterConfig.SlaveStartFilterBank = 14;
	sFilterConfig.SlaveStartFilterBank = 0;

	if (HAL_CAN_ConfigFilter(&hcan1, &sFilterConfig) != HAL_OK)
	{
		/* Filter configuration Error */
		Error_Handler();
	}

	/*##-5- Configure Transmission process #####################################*/
	TxHeader.StdId = 0x01;
	TxHeader.ExtId = 0x01;
	TxHeader.RTR = CAN_RTR_DATA;
	TxHeader.IDE = CAN_ID_STD;
	TxHeader.DLC = 8;
	TxHeader.TransmitGlobalTime = DISABLE;
	/* USER CODE END CAN1_Init 2 */

}

static void MX_SDIO_SD_Init(void)
{

	hsd.Instance = SDIO;
	hsd.Init.ClockEdge = SDIO_CLOCK_EDGE_RISING;
	hsd.Init.ClockBypass = SDIO_CLOCK_BYPASS_DISABLE;
	hsd.Init.ClockPowerSave = SDIO_CLOCK_POWER_SAVE_DISABLE;
	hsd.Init.BusWide = SDIO_BUS_WIDE_1B;
	hsd.Init.HardwareFlowControl = SDIO_HARDWARE_FLOW_CONTROL_DISABLE;
	hsd.Init.ClockDiv = 1;

}

static void MX_SPI2_Init(void)
{

	/* SPI2 parameter configuration*/
	hspi2.Instance = SPI2;
	hspi2.Init.Mode = SPI_MODE_MASTER;
	hspi2.Init.Direction = SPI_DIRECTION_2LINES;
	hspi2.Init.DataSize = SPI_DATASIZE_8BIT;
	hspi2.Init.CLKPolarity = SPI_POLARITY_LOW;
	hspi2.Init.CLKPhase = SPI_PHASE_1EDGE;
	hspi2.Init.NSS = SPI_NSS_SOFT;
	hspi2.Init.BaudRatePrescaler = SPI_BAUDRATEPRESCALER_2;
	hspi2.Init.FirstBit = SPI_FIRSTBIT_MSB;
	hspi2.Init.TIMode = SPI_TIMODE_DISABLE;
	hspi2.Init.CRCCalculation = SPI_CRCCALCULATION_DISABLE;
	hspi2.Init.CRCPolynomial = 10;
	if (HAL_SPI_Init(&hspi2) != HAL_OK)
	{
		Error_Handler();
	}

}

static void MX_TIM3_Init(void)
{

	LL_TIM_InitTypeDef TIM_InitStruct =
	{ 0 };

	/* Peripheral clock enable */
	LL_APB1_GRP1_EnableClock(LL_APB1_GRP1_PERIPH_TIM3);

	/* TIM3 interrupt Init */
	NVIC_SetPriority(TIM3_IRQn,
			NVIC_EncodePriority(NVIC_GetPriorityGrouping(), 1, 0));
	NVIC_EnableIRQ(TIM3_IRQn);

	TIM_InitStruct.Prescaler = 5999;
	TIM_InitStruct.CounterMode = LL_TIM_COUNTERMODE_UP;
	TIM_InitStruct.Autoreload = 44;
	TIM_InitStruct.ClockDivision = LL_TIM_CLOCKDIVISION_DIV1;
	LL_TIM_Init(TIM3, &TIM_InitStruct);
	LL_TIM_DisableARRPreload(TIM3);
	LL_TIM_SetClockSource(TIM3, LL_TIM_CLOCKSOURCE_INTERNAL);
	LL_TIM_SetTriggerOutput(TIM3, LL_TIM_TRGO_RESET);
	LL_TIM_DisableMasterSlaveMode(TIM3);

}

static void MX_TIM4_Init(void)
{

	TIM_Encoder_InitTypeDef sConfig =
	{ 0 };
	TIM_MasterConfigTypeDef sMasterConfig =
	{ 0 };

	htim4.Instance = TIM4;
	htim4.Init.Prescaler = 0;
	htim4.Init.CounterMode = TIM_COUNTERMODE_UP;
	htim4.Init.Period = 65535;
	htim4.Init.ClockDivision = TIM_CLOCKDIVISION_DIV1;
	htim4.Init.AutoReloadPreload = TIM_AUTORELOAD_PRELOAD_DISABLE;
	sConfig.EncoderMode = TIM_ENCODERMODE_TI1;
	sConfig.IC1Polarity = TIM_ICPOLARITY_RISING;
	sConfig.IC1Selection = TIM_ICSELECTION_DIRECTTI;
	sConfig.IC1Prescaler = TIM_ICPSC_DIV1;
	sConfig.IC1Filter = 0;
	sConfig.IC2Polarity = TIM_ICPOLARITY_RISING;
	sConfig.IC2Selection = TIM_ICSELECTION_DIRECTTI;
	sConfig.IC2Prescaler = TIM_ICPSC_DIV1;
	sConfig.IC2Filter = 0;
	if (HAL_TIM_Encoder_Init(&htim4, &sConfig) != HAL_OK)
	{
		Error_Handler();
	}
	sMasterConfig.MasterOutputTrigger = TIM_TRGO_RESET;
	sMasterConfig.MasterSlaveMode = TIM_MASTERSLAVEMODE_DISABLE;
	if (HAL_TIMEx_MasterConfigSynchronization(&htim4, &sMasterConfig) != HAL_OK)
	{
		Error_Handler();
	}

}

static void MX_USART2_UART_Init(void)
{

	huart2.Instance = USART2;
	huart2.Init.BaudRate = 115200;
	huart2.Init.WordLength = UART_WORDLENGTH_8B;
	huart2.Init.StopBits = UART_STOPBITS_1;
	huart2.Init.Parity = UART_PARITY_NONE;
	huart2.Init.Mode = UART_MODE_TX_RX;
	huart2.Init.HwFlowCtl = UART_HWCONTROL_NONE;
	huart2.Init.OverSampling = UART_OVERSAMPLING_16;
	if (HAL_UART_Init(&huart2) != HAL_OK)
	{
		Error_Handler();
	}

}

static void MX_USART3_UART_Init(void)
{

	huart3.Instance = USART3;
	huart3.Init.BaudRate = 115200;
	huart3.Init.WordLength = UART_WORDLENGTH_8B;
	huart3.Init.StopBits = UART_STOPBITS_1;
	huart3.Init.Parity = UART_PARITY_NONE;
	huart3.Init.Mode = UART_MODE_TX_RX;
	huart3.Init.HwFlowCtl = UART_HWCONTROL_NONE;
	huart3.Init.OverSampling = UART_OVERSAMPLING_16;
	if (HAL_UART_Init(&huart3) != HAL_OK)
	{
		Error_Handler();
	}

}

static void MX_DMA_Init(void)
{

	/* DMA controller clock enable */
	__HAL_RCC_DMA2_CLK_ENABLE();
	__HAL_RCC_DMA1_CLK_ENABLE();

	/* DMA interrupt init */
	/* DMA1_Stream3_IRQn interrupt configuration */
	HAL_NVIC_SetPriority(DMA1_Stream3_IRQn, 1, 0);
	HAL_NVIC_EnableIRQ(DMA1_Stream3_IRQn);
	/* DMA1_Stream4_IRQn interrupt configuration */
	HAL_NVIC_SetPriority(DMA1_Stream4_IRQn, 1, 0);
	HAL_NVIC_EnableIRQ(DMA1_Stream4_IRQn);
	/* DMA1_Stream5_IRQn interrupt configuration */
	HAL_NVIC_SetPriority(DMA1_Stream5_IRQn, 1, 0);
	HAL_NVIC_EnableIRQ(DMA1_Stream5_IRQn);
	/* DMA1_Stream6_IRQn interrupt configuration */
	HAL_NVIC_SetPriority(DMA1_Stream6_IRQn, 1, 0);
	HAL_NVIC_EnableIRQ(DMA1_Stream6_IRQn);
	/* DMA2_Stream0_IRQn interrupt configuration */
	HAL_NVIC_SetPriority(DMA2_Stream0_IRQn, 1, 0);
	HAL_NVIC_EnableIRQ(DMA2_Stream0_IRQn);
	/* DMA2_Stream3_IRQn interrupt configuration */
	HAL_NVIC_SetPriority(DMA2_Stream3_IRQn, 1, 0);
	HAL_NVIC_EnableIRQ(DMA2_Stream3_IRQn);
	/* DMA2_Stream6_IRQn interrupt configuration */
	HAL_NVIC_SetPriority(DMA2_Stream6_IRQn, 1, 0);
	HAL_NVIC_EnableIRQ(DMA2_Stream6_IRQn);

}

static void MX_GPIO_Init(void)
{
	GPIO_InitTypeDef GPIO_InitStruct =
	{ 0 };

	/* GPIO Ports Clock Enable */
	__HAL_RCC_GPIOC_CLK_ENABLE();
	__HAL_RCC_GPIOH_CLK_ENABLE();
	__HAL_RCC_GPIOA_CLK_ENABLE();
	__HAL_RCC_GPIOB_CLK_ENABLE();
	__HAL_RCC_GPIOF_CLK_ENABLE();
	__HAL_RCC_GPIOE_CLK_ENABLE();
	__HAL_RCC_GPIOD_CLK_ENABLE();
	__HAL_RCC_GPIOG_CLK_ENABLE();

	/*Configure GPIO pin Output Level */
	HAL_GPIO_WritePin(GPIOB, LD1_Pin | LD3_Pin | LD2_Pin, GPIO_PIN_RESET);

	/*Configure GPIO pin Output Level */
	HAL_GPIO_WritePin(STROBE_DRV_GPIO_Port, STROBE_DRV_Pin, GPIO_PIN_RESET);

	/*Configure GPIO pin Output Level */
	HAL_GPIO_WritePin(GPIOG,
			SIG_SHUTTER_Pin | SIG_AUTOFOCUS_Pin | USB_PowerSW_Pin
					| ENCODER_Z_Pin | CS0_Pin | CS1_Pin | CS2_Pin | CS3_Pin,
			GPIO_PIN_RESET);

	/*Configure GPIO pins : RMII_MDC_Pin RMII_RXD0_Pin RMII_RXD1_Pin */
	GPIO_InitStruct.Pin = RMII_MDC_Pin | RMII_RXD0_Pin | RMII_RXD1_Pin;
	GPIO_InitStruct.Mode = GPIO_MODE_AF_PP;
	GPIO_InitStruct.Pull = GPIO_NOPULL;
	GPIO_InitStruct.Speed = GPIO_SPEED_FREQ_VERY_HIGH;
	GPIO_InitStruct.Alternate = GPIO_AF11_ETH;
	HAL_GPIO_Init(GPIOC, &GPIO_InitStruct);

	/*Configure GPIO pins : RMII_REF_CLK_Pin RMII_MDIO_Pin RMII_CRS_DV_Pin */
	GPIO_InitStruct.Pin = RMII_REF_CLK_Pin | RMII_MDIO_Pin | RMII_CRS_DV_Pin;
	GPIO_InitStruct.Mode = GPIO_MODE_AF_PP;
	GPIO_InitStruct.Pull = GPIO_NOPULL;
	GPIO_InitStruct.Speed = GPIO_SPEED_FREQ_VERY_HIGH;
	GPIO_InitStruct.Alternate = GPIO_AF11_ETH;
	HAL_GPIO_Init(GPIOA, &GPIO_InitStruct);

	/*Configure GPIO pins : LD1_Pin LD3_Pin LD2_Pin */
	GPIO_InitStruct.Pin = LD1_Pin | LD3_Pin | LD2_Pin;
	GPIO_InitStruct.Mode = GPIO_MODE_OUTPUT_PP;
	GPIO_InitStruct.Pull = GPIO_NOPULL;
	GPIO_InitStruct.Speed = GPIO_SPEED_FREQ_VERY_HIGH;
	HAL_GPIO_Init(GPIOB, &GPIO_InitStruct);

	/*Configure GPIO pin : PWRCHECK_Pin */
	GPIO_InitStruct.Pin = PWRCHECK_Pin;
	GPIO_InitStruct.Mode = GPIO_MODE_INPUT;
	GPIO_InitStruct.Pull = GPIO_PULLDOWN;
	HAL_GPIO_Init(PWRCHECK_GPIO_Port, &GPIO_InitStruct);

	/*Configure GPIO pin : STROBE_DRV_Pin */
	GPIO_InitStruct.Pin = STROBE_DRV_Pin;
	GPIO_InitStruct.Mode = GPIO_MODE_OUTPUT_PP;
	GPIO_InitStruct.Pull = GPIO_NOPULL;
	GPIO_InitStruct.Speed = GPIO_SPEED_FREQ_VERY_HIGH;
	HAL_GPIO_Init(STROBE_DRV_GPIO_Port, &GPIO_InitStruct);

	/*Configure GPIO pins : STROBE0_Pin STROBE1_Pin STROBE2_Pin STROBE3_Pin
	 STROBE_CHK_Pin */
	GPIO_InitStruct.Pin = STROBE0_Pin | STROBE1_Pin | STROBE2_Pin | STROBE3_Pin
			| STROBE_CHK_Pin;
	GPIO_InitStruct.Mode = GPIO_MODE_IT_RISING;
	GPIO_InitStruct.Pull = GPIO_NOPULL;
	HAL_GPIO_Init(GPIOE, &GPIO_InitStruct);

	/*Configure GPIO pin : RMII_TXD1_Pin */
	GPIO_InitStruct.Pin = RMII_TXD1_Pin;
	GPIO_InitStruct.Mode = GPIO_MODE_AF_PP;
	GPIO_InitStruct.Pull = GPIO_NOPULL;
	GPIO_InitStruct.Speed = GPIO_SPEED_FREQ_VERY_HIGH;
	GPIO_InitStruct.Alternate = GPIO_AF11_ETH;
	HAL_GPIO_Init(RMII_TXD1_GPIO_Port, &GPIO_InitStruct);

	/*Configure GPIO pin : PWRCHECKB15_Pin */
	GPIO_InitStruct.Pin = PWRCHECKB15_Pin;
	GPIO_InitStruct.Mode = GPIO_MODE_INPUT;
	GPIO_InitStruct.Pull = GPIO_PULLUP;
	HAL_GPIO_Init(PWRCHECKB15_GPIO_Port, &GPIO_InitStruct);

	/*Configure GPIO pin : CardDetect_Pin */
	GPIO_InitStruct.Pin = CardDetect_Pin;
	GPIO_InitStruct.Mode = GPIO_MODE_INPUT;
	GPIO_InitStruct.Pull = GPIO_PULLUP;
	HAL_GPIO_Init(CardDetect_GPIO_Port, &GPIO_InitStruct);

	/*Configure GPIO pin : SIG_SHUTTER_Pin */
	GPIO_InitStruct.Pin = SIG_SHUTTER_Pin;
	GPIO_InitStruct.Mode = GPIO_MODE_OUTPUT_PP;
	GPIO_InitStruct.Pull = GPIO_NOPULL;
	GPIO_InitStruct.Speed = GPIO_SPEED_FREQ_VERY_HIGH;
	HAL_GPIO_Init(SIG_SHUTTER_GPIO_Port, &GPIO_InitStruct);

	/*Configure GPIO pins : SIG_AUTOFOCUS_Pin USB_PowerSW_Pin ENCODER_Z_Pin CS0_Pin
	 CS1_Pin CS2_Pin CS3_Pin */
	GPIO_InitStruct.Pin = SIG_AUTOFOCUS_Pin | USB_PowerSW_Pin | ENCODER_Z_Pin
			| CS0_Pin | CS1_Pin | CS2_Pin | CS3_Pin;
	GPIO_InitStruct.Mode = GPIO_MODE_OUTPUT_PP;
	GPIO_InitStruct.Pull = GPIO_NOPULL;
	GPIO_InitStruct.Speed = GPIO_SPEED_FREQ_LOW;
	HAL_GPIO_Init(GPIOG, &GPIO_InitStruct);

	/*Configure GPIO pin : USB_OverCurrent_Pin */
	GPIO_InitStruct.Pin = USB_OverCurrent_Pin;
	GPIO_InitStruct.Mode = GPIO_MODE_INPUT;
	GPIO_InitStruct.Pull = GPIO_NOPULL;
	HAL_GPIO_Init(USB_OverCurrent_GPIO_Port, &GPIO_InitStruct);

	/*Configure GPIO pins : RMII_TX_EN_Pin RMII_TXD0_Pin */
	GPIO_InitStruct.Pin = RMII_TX_EN_Pin | RMII_TXD0_Pin;
	GPIO_InitStruct.Mode = GPIO_MODE_AF_PP;
	GPIO_InitStruct.Pull = GPIO_NOPULL;
	GPIO_InitStruct.Speed = GPIO_SPEED_FREQ_VERY_HIGH;
	GPIO_InitStruct.Alternate = GPIO_AF11_ETH;
	HAL_GPIO_Init(GPIOG, &GPIO_InitStruct);

	/* EXTI interrupt init*/
	HAL_NVIC_SetPriority(EXTI15_10_IRQn, 0, 0);
	HAL_NVIC_EnableIRQ(EXTI15_10_IRQn);

}

void Error_Handler(void)
{
}

/************************ (C) COPYRIGHT STMicroelectronics *****END OF FILE****/
